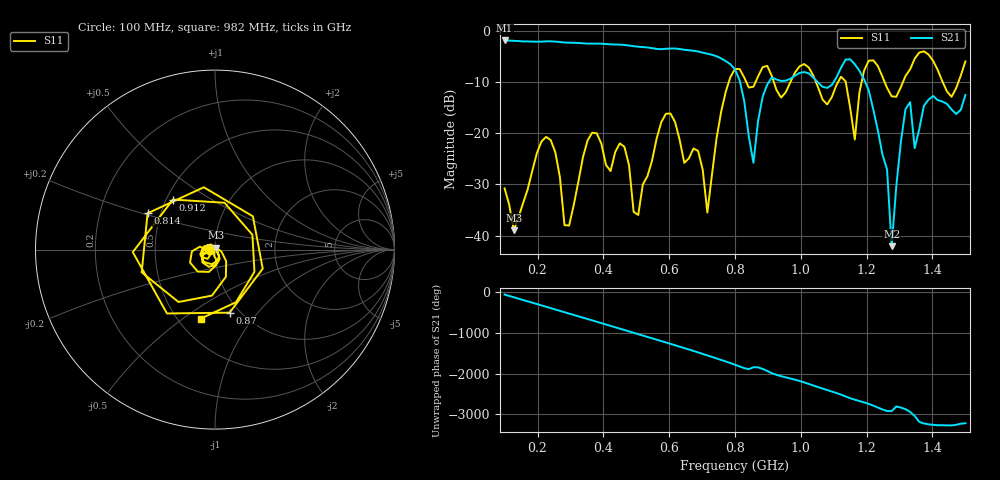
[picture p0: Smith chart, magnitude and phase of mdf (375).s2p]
! NanoVNA-App
! Date: 2025-09-25 15:41:20
! Start: 100MHz Stop: 1,5GHz Points: 101
! S-Parameter data: F S11 S21 S12 S22
# Hz S RI R 50
!  Frequency  S11_Real  S11_Imag  S21_Real  S21_Imag  S12_Real  S12_Imag  S22_Real  S22_Imag
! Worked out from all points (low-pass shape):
!   101 points, 100 MHz to 1.5 GHz, reference 50 ohm
!   highest |S21| = -1.80 dB at 100 MHz (marker M1); lowest = -42.1 dB at 1.276 GHz (marker M2)
!   |S21| within 3 dB of the highest: start of sweep to 739.5 MHz
!   lowest |S11| = -39.0 dB at 128 MHz (marker M3), VSWR 1.02, Z = 50.3 + j1.08 ohm
!   |S11| at or under -10 dB: start of sweep to 780.9 MHz; 918.3 MHz to 968.1 MHz (49.79 MHz wide, 5.28 % of centre); 1.046 GHz to 1.113 GHz (66.5 MHz wide, 6.16 % of centre) (the widest 3 of 7)
!   S12 and S22 are empty: the file has one direction only
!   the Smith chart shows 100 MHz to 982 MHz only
!   S11 on the Smith chart (normalised r, x): 100 MHz: 0.94, -0.01; 814 MHz: 0.42, +0.21; 870 MHz: 0.90, -0.73; 912 MHz: 0.54, +0.35; 982 MHz: 0.64, -0.59
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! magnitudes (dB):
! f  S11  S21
! 100 MHz  -30.8  -1.8
! 128 MHz  -39.0  -1.9
! 212 MHz  -21.6  -2.0
! 282 MHz  -38.0  -2.2
! 338 MHz  -24.7  -2.4
! 464 MHz  -22.6  -2.7
! 506 MHz  -36.0  -3.0
! 576 MHz  -17.8  -3.5
! 716 MHz  -35.5  -4.4
! 800 MHz  -7.4  -7.5
! 814 MHz  -7.4  -9.6
! 856 MHz  -10.9  -25.8
! 870 MHz  -8.9  -17.6
! 912 MHz  -8.8  -9.1
! 982 MHz  -8.1  -8.7
! 1.038 GHz  -8.7  -9.1
! 1.164 GHz  -21.2  -6.5
! 1.192 GHz  -7.7  -9.4
! 1.262 GHz  -11.1  -27.1
! 1.276 GHz  -12.7  -42.1
! 1.318 GHz  -8.8  -15.2
! 1.5 GHz  -5.9  -12.5
